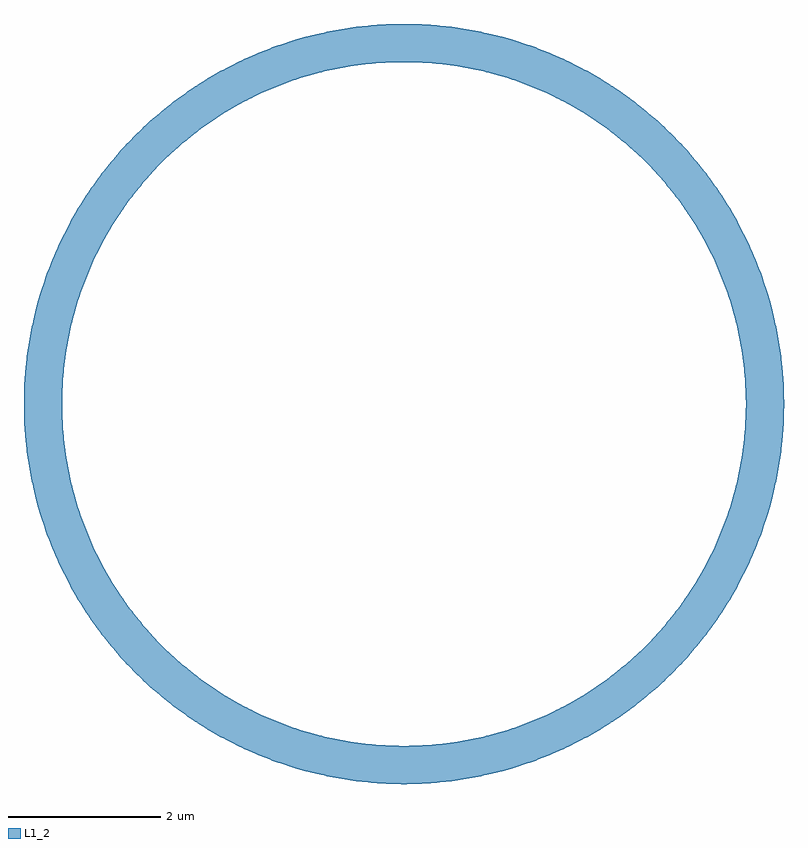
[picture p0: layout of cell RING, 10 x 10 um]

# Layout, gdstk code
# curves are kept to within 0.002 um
import gdstk
lib = gdstk.Library(unit=1e-6, precision=1e-09)
def P(c, l, *ps):  # polygons
    for p in ps: c.add(gdstk.Polygon(p, *l))
L1_2 = (1, 2)

ring = lib.new_cell('RING')
P(ring, L1_2, [(-3.921,0.301),(-3.843,0.302),(-3.647,0.312),(-3.529,0.322),(-3.373,0.339),(-3.14,0.374),(-2.909,0.42),(-2.795,0.447),(-2.53,0.521),(-2.343,0.582),(-2.159,0.651),(-1.907,0.759),(-1.765,0.827),(-1.591,0.918),(-1.421,1.016),(-1.283,1.103),(-2.376,1.103),(-2.609,1.02),(-2.813,0.959),(-2.949,0.924),(-3.122,0.886),(-3.296,0.855),(-3.541,0.823),(-3.823,0.803),(-3.965,0.8),(-4.177,0.803),(-4.459,0.823),(-4.704,0.855),(-4.808,0.873),(-4.982,0.908),(-5.187,0.959),(-5.391,1.02),(-5.624,1.103),(-6.717,1.103),(-6.579,1.016),(-6.409,0.918),(-6.235,0.827),(-6.058,0.743),(-5.841,0.651),(-5.657,0.582),(-5.47,0.521),(-5.319,0.477),(-5.091,0.42),(-4.975,0.396),(-4.86,0.374),(-4.627,0.339),(-4.353,0.312),(-4.118,0.301)],
  [(-5.657,1.116),(-5.884,1.213),(-6.106,1.323),(-6.23,1.391),(-6.351,1.463),(-6.471,1.539),(-6.588,1.618),(-6.702,1.701),(-6.814,1.788),(-6.923,1.878),(-7.029,1.972),(-7.132,2.068),(-7.232,2.168),(-7.375,2.324),(-8.018,2.324),(-7.951,2.235),(-7.853,2.113),(-7.751,1.993),(-7.591,1.82),(-7.423,1.655),(-7.307,1.549),(-7.187,1.447),(-7.065,1.349),(-6.875,1.209),(-6.717,1.103),(-5.624,1.103)],
  [(-1.255,1.121),(-1.125,1.209),(-0.935,1.349),(-0.813,1.447),(-0.693,1.549),(-0.577,1.655),(-0.409,1.82),(-0.249,1.993),(-0.147,2.113),(-0.049,2.235),(0.018,2.324),(-0.625,2.324),(-0.768,2.168),(-0.868,2.068),(-0.971,1.972),(-1.077,1.878),(-1.186,1.788),(-1.298,1.701),(-1.412,1.618),(-1.529,1.539),(-1.649,1.463),(-1.77,1.391),(-1.894,1.323),(-2.116,1.213),(-2.245,1.156),(-2.376,1.103),(-1.283,1.103)],
  [(-7.399,2.351),(-7.512,2.486),(-7.599,2.598),(-7.742,2.8),(-7.837,2.949),(-7.909,3.07),(-8.01,3.257),(-8.116,3.48),(-8.222,3.742),(-8.291,3.943),(-8.341,4.113),(-8.376,4.248),(-8.888,4.248),(-8.853,4.095),(-8.823,3.981),(-8.743,3.718),(-8.718,3.643),(-8.649,3.459),(-8.557,3.242),(-8.473,3.065),(-8.419,2.96),(-8.324,2.789),(-8.243,2.654),(-8.179,2.555),(-8.022,2.329),(-8.018,2.324),(-7.375,2.324)],
  [(0.022,2.329),(0.179,2.555),(0.243,2.654),(0.324,2.789),(0.419,2.96),(0.473,3.065),(0.557,3.242),(0.649,3.459),(0.718,3.643),(0.743,3.718),(0.823,3.981),(0.853,4.095),(0.888,4.248),(0.376,4.248),(0.341,4.113),(0.291,3.943),(0.222,3.742),(0.116,3.48),(0.01,3.257),(-0.091,3.07),(-0.127,3.009),(-0.239,2.829),(-0.298,2.741),(-0.444,2.542),(-0.555,2.404),(-0.625,2.324),(0.018,2.324)],
  [(-8.999,5.221),(-8.998,5.143),(-8.988,4.947),(-8.97,4.751),(-8.95,4.595),(-8.926,4.44),(-8.888,4.248),(-8.376,4.248),(-8.427,4.492),(-8.465,4.736),(-8.489,4.982),(-8.497,5.123),(-8.5,5.265),(-8.497,5.477),(-8.477,5.759),(-8.445,6.004),(-8.414,6.178),(-8.376,6.352),(-8.888,6.352),(-8.926,6.16),(-8.961,5.927),(-8.978,5.771),(-8.988,5.653),(-8.998,5.457)],
  [(0.896,4.286),(0.926,4.44),(0.95,4.595),(0.978,4.829),(0.988,4.947),(0.998,5.143),(1,5.339),(0.998,5.457),(0.988,5.653),(0.97,5.849),(0.95,6.005),(0.926,6.16),(0.888,6.352),(0.376,6.352),(0.427,6.108),(0.465,5.864),(0.489,5.618),(0.497,5.477),(0.5,5.335),(0.497,5.123),(0.477,4.841),(0.445,4.596),(0.414,4.422),(0.376,4.248),(0.888,4.248)],
  [(-8.367,6.385),(-8.341,6.487),(-8.291,6.657),(-8.246,6.791),(-8.197,6.924),(-8.144,7.055),(-8.087,7.184),(-7.977,7.406),(-7.909,7.53),(-7.837,7.651),(-7.761,7.771),(-7.682,7.888),(-7.599,8.002),(-7.512,8.114),(-7.375,8.276),(-8.018,8.276),(-8.113,8.143),(-8.243,7.946),(-8.324,7.811),(-8.419,7.64),(-8.49,7.5),(-8.589,7.286),(-8.649,7.141),(-8.718,6.957),(-8.779,6.77),(-8.823,6.619),(-8.853,6.505),(-8.888,6.352),(-8.376,6.352)],
  [(0.88,6.391),(0.823,6.619),(0.779,6.77),(0.718,6.957),(0.649,7.141),(0.557,7.358),(0.473,7.535),(0.419,7.64),(0.324,7.811),(0.243,7.946),(0.179,8.045),(0.022,8.271),(0.018,8.276),(-0.625,8.276),(-0.555,8.196),(-0.444,8.058),(-0.298,7.859),(-0.239,7.771),(-0.127,7.591),(-0.091,7.53),(0.01,7.343),(0.116,7.12),(0.222,6.858),(0.291,6.657),(0.341,6.487),(0.376,6.352),(0.888,6.352)],
  [(-7.352,8.302),(-7.232,8.432),(-7.132,8.532),(-7.029,8.628),(-6.923,8.722),(-6.814,8.812),(-6.702,8.899),(-6.588,8.982),(-6.471,9.061),(-6.351,9.137),(-6.23,9.209),(-6.106,9.277),(-5.884,9.387),(-5.755,9.444),(-5.624,9.497),(-6.717,9.497),(-6.875,9.391),(-7.065,9.251),(-7.187,9.153),(-7.307,9.051),(-7.48,8.891),(-7.591,8.78),(-7.751,8.607),(-7.853,8.487),(-7.951,8.365),(-8.018,8.276),(-7.375,8.276)],
  [(-0.002,8.302),(-0.147,8.487),(-0.249,8.607),(-0.409,8.78),(-0.577,8.945),(-0.693,9.051),(-0.813,9.153),(-0.935,9.251),(-1.125,9.391),(-1.283,9.497),(-2.376,9.497),(-2.245,9.444),(-2.116,9.387),(-1.894,9.277),(-1.77,9.209),(-1.649,9.137),(-1.529,9.061),(-1.412,8.982),(-1.298,8.899),(-1.186,8.812),(-1.077,8.722),(-0.971,8.628),(-0.868,8.532),(-0.768,8.432),(-0.625,8.276),(0.018,8.276)],
  [(-1.288,9.5),(-1.421,9.584),(-1.591,9.682),(-1.765,9.773),(-1.907,9.841),(-2.05,9.904),(-2.269,9.991),(-2.418,10.043),(-2.567,10.09),(-2.681,10.123),(-2.909,10.18),(-3.14,10.226),(-3.295,10.25),(-3.451,10.27),(-3.647,10.288),(-3.843,10.298),(-4.039,10.3),(-4.157,10.298),(-4.353,10.288),(-4.549,10.27),(-4.705,10.25),(-4.86,10.226),(-5.091,10.18),(-5.319,10.123),(-5.47,10.079),(-5.657,10.018),(-5.841,9.949),(-6.093,9.841),(-6.235,9.773),(-6.409,9.682),(-6.579,9.584),(-6.717,9.497),(-5.624,9.497),(-5.391,9.58),(-5.187,9.641),(-5.051,9.676),(-4.878,9.714),(-4.704,9.745),(-4.459,9.777),(-4.177,9.797),(-4.035,9.8),(-3.823,9.797),(-3.541,9.777),(-3.296,9.745),(-3.192,9.727),(-3.018,9.692),(-2.813,9.641),(-2.609,9.58),(-2.376,9.497),(-1.283,9.497)])

lib.write_gds('RING.gds')
